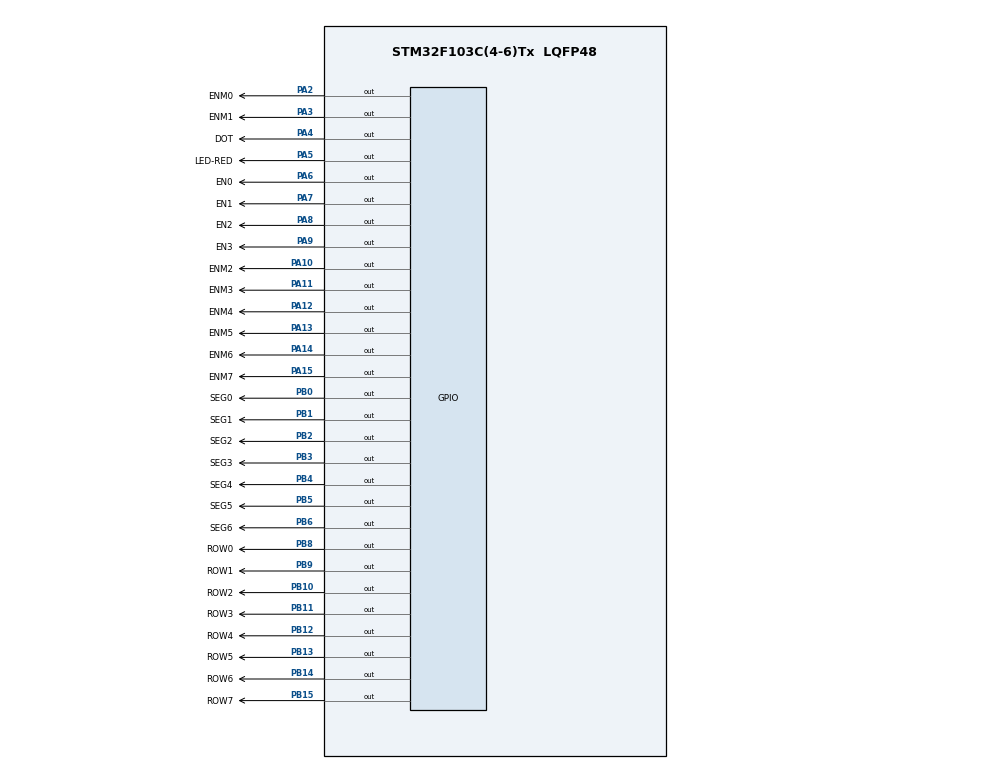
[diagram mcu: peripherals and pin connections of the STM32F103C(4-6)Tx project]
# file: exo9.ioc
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Mcu.Family=STM32F1
Mcu.Name=STM32F103C(4-6)Tx
Mcu.Package=LQFP48
NVIC.PriorityGroup=NVIC_PRIORITYGROUP_4
NVIC.TIM2_IRQn=true\:0\:0\:false\:false\:true\:true\:true
PA10.GPIO_Label=ENM2
PA10.Signal=GPIO_Output
PA11.GPIO_Label=ENM3
PA11.Signal=GPIO_Output
PA12.GPIO_Label=ENM4
PA12.Signal=GPIO_Output
PA13.GPIO_Label=ENM5
PA13.Signal=GPIO_Output
PA14.GPIO_Label=ENM6
PA14.Signal=GPIO_Output
PA15.GPIO_Label=ENM7
PA15.Signal=GPIO_Output
PA2.GPIO_Label=ENM0
PA2.Signal=GPIO_Output
PA3.GPIO_Label=ENM1
PA3.Signal=GPIO_Output
PA4.GPIO_Label=DOT
PA4.Signal=GPIO_Output
PA5.GPIO_Label=LED-RED
PA5.Signal=GPIO_Output
PA6.GPIO_Label=EN0
PA6.Signal=GPIO_Output
PA7.GPIO_Label=EN1
PA7.Signal=GPIO_Output
PA8.GPIO_Label=EN2
PA8.Signal=GPIO_Output
PA9.GPIO_Label=EN3
PA9.Signal=GPIO_Output
PB0.GPIO_Label=SEG0
PB0.Signal=GPIO_Output
PB1.GPIO_Label=SEG1
PB1.Signal=GPIO_Output
PB10.GPIO_Label=ROW2
PB10.Signal=GPIO_Output
PB11.GPIO_Label=ROW3
PB11.Signal=GPIO_Output
PB12.GPIO_Label=ROW4
PB12.Signal=GPIO_Output
PB13.GPIO_Label=ROW5
PB13.Signal=GPIO_Output
PB14.GPIO_Label=ROW6
PB14.Signal=GPIO_Output
PB15.GPIO_Label=ROW7
PB15.Signal=GPIO_Output
PB2.GPIO_Label=SEG2
PB2.Signal=GPIO_Output
PB3.GPIO_Label=SEG3
PB3.Signal=GPIO_Output
PB4.GPIO_Label=SEG4
PB4.Signal=GPIO_Output
PB5.GPIO_Label=SEG5
PB5.Signal=GPIO_Output
PB6.GPIO_Label=SEG6
PB6.Signal=GPIO_Output
PB8.GPIO_Label=ROW0
PB8.Signal=GPIO_Output
PB9.GPIO_Label=ROW1
PB9.Signal=GPIO_Output
ProjectManager.HeapSize=0x200
ProjectManager.StackSize=0x400
ProjectManager.TargetToolchain=STM32CubeIDE
RCC.APB1Freq_Value=8000000
RCC.APB2Freq_Value=8000000
TIM2.Period=9
TIM2.Prescaler=7999
VP_SYS_VS_ND.Mode=No_Debug
VP_TIM2_VS_ClockSourceINT.Mode=Internal
board=custom

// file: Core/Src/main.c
/* USER CODE BEGIN Header */
/**
  ******************************************************************************
  * @file           : main.c
  * @brief          : Main program body
  ******************************************************************************
  * @attention
  *
  * <h2><center>&copy; Copyright (c) 2022 STMicroelectronics.
  * All rights reserved.</center></h2>
  *
  * This software component is licensed by ST under BSD 3-Clause license,
  * the "License"; You may not use this file except in compliance with the
  * License. You may obtain a copy of the License at:
  *                        opensource.org/licenses/BSD-3-Clause
  *
  ******************************************************************************
  */
/* USER CODE END Header */
#include <control_clock_buffer.h>
#include <control_led_7SEG.h>
#include "main.h"

/* USER CODE BEGIN Includes */
#include "software_timer.h"
#include "clock.h"
#include "global.h"
#include "control_matrix.h"
/* USER CODE END Includes */

TIM_HandleTypeDef htim2;

void SystemClock_Config(void);
static void MX_GPIO_Init(void);
static void MX_TIM2_Init(void);

int main(void)
{

  /* MCU Configuration--------------------------------------------------------*/

  /* Reset of all peripherals, Initializes the Flash interface and the Systick. */
  HAL_Init();

  /* Configure the system clock */
  SystemClock_Config();

  /* Initialize all configured peripherals */
  MX_GPIO_Init();
  MX_TIM2_Init();
  /* USER CODE BEGIN 2 */

  HAL_TIM_Base_Start_IT(&htim2);

  /* USER CODE END 2 */

  /* Infinite loop */
  /* USER CODE BEGIN WHILE */
  setTimer1(1000);
  setTimer2(1000);
  setTimer3(1000);
  setTimer4(1000);
  while (1)
  {
    /* USER CODE END WHILE */
    /* USER CODE BEGIN 3 */
	if(timer3_flag == 1)// control LED-RED and DOT-LED
	{
		HAL_GPIO_TogglePin(LED_RED_GPIO_Port, LED_RED_Pin);
		HAL_GPIO_TogglePin(DOT_GPIO_Port, DOT_Pin);
		setTimer3(1000);
	}

	if(timer1_flag == 1)// run time as a clock
	{
		clock();
		updateClockBuffer();
		setTimer1(1000);
	}

	if(timer2_flag == 1)// control 4 led 7-SEG
	{
		update7SEG(index_led++);
		if(index_led == MAX_LED) index_led = 0;
		setTimer2(250);
	}

	if(timer4_flag == 1)// control led matrix
	{
		updateLedMatrix(index_led_matrix++);
		if(index_led_matrix == MAX_LED_MATRIX) index_led_matrix = 0;
		setTimer4(100);
	}

  }
  /* USER CODE END 3 */
}

void SystemClock_Config(void)
{
  RCC_OscInitTypeDef RCC_OscInitStruct = {0};
  RCC_ClkInitTypeDef RCC_ClkInitStruct = {0};

  /** Initializes the RCC Oscillators according to the specified parameters
  * in the RCC_OscInitTypeDef structure.
  */
  RCC_OscInitStruct.OscillatorType = RCC_OSCILLATORTYPE_HSI;
  RCC_OscInitStruct.HSIState = RCC_HSI_ON;
  RCC_OscInitStruct.HSICalibrationValue = RCC_HSICALIBRATION_DEFAULT;
  RCC_OscInitStruct.PLL.PLLState = RCC_PLL_NONE;
  if (HAL_RCC_OscConfig(&RCC_OscInitStruct) != HAL_OK)
  {
    Error_Handler();
  }
  /** Initializes the CPU, AHB and APB buses clocks
  */
  RCC_ClkInitStruct.ClockType = RCC_CLOCKTYPE_HCLK|RCC_CLOCKTYPE_SYSCLK
                              |RCC_CLOCKTYPE_PCLK1|RCC_CLOCKTYPE_PCLK2;
  RCC_ClkInitStruct.SYSCLKSource = RCC_SYSCLKSOURCE_HSI;
  RCC_ClkInitStruct.AHBCLKDivider = RCC_SYSCLK_DIV1;
  RCC_ClkInitStruct.APB1CLKDivider = RCC_HCLK_DIV1;
  RCC_ClkInitStruct.APB2CLKDivider = RCC_HCLK_DIV1;

  if (HAL_RCC_ClockConfig(&RCC_ClkInitStruct, FLASH_LATENCY_0) != HAL_OK)
  {
    Error_Handler();
  }
}

static void MX_TIM2_Init(void)
{

  TIM_ClockConfigTypeDef sClockSourceConfig = {0};
  TIM_MasterConfigTypeDef sMasterConfig = {0};

  htim2.Instance = TIM2;
  htim2.Init.Prescaler = 7999;
  htim2.Init.CounterMode = TIM_COUNTERMODE_UP;
  htim2.Init.Period = 9;
  htim2.Init.ClockDivision = TIM_CLOCKDIVISION_DIV1;
  htim2.Init.AutoReloadPreload = TIM_AUTORELOAD_PRELOAD_DISABLE;
  if (HAL_TIM_Base_Init(&htim2) != HAL_OK)
  {
    Error_Handler();
  }
  sClockSourceConfig.ClockSource = TIM_CLOCKSOURCE_INTERNAL;
  if (HAL_TIM_ConfigClockSource(&htim2, &sClockSourceConfig) != HAL_OK)
  {
    Error_Handler();
  }
  sMasterConfig.MasterOutputTrigger = TIM_TRGO_RESET;
  sMasterConfig.MasterSlaveMode = TIM_MASTERSLAVEMODE_DISABLE;
  if (HAL_TIMEx_MasterConfigSynchronization(&htim2, &sMasterConfig) != HAL_OK)
  {
    Error_Handler();
  }

}

static void MX_GPIO_Init(void)
{
  GPIO_InitTypeDef GPIO_InitStruct = {0};

  /* GPIO Ports Clock Enable */
  __HAL_RCC_GPIOA_CLK_ENABLE();
  __HAL_RCC_GPIOB_CLK_ENABLE();

  /*Configure GPIO pin Output Level */
  HAL_GPIO_WritePin(GPIOA, ENM0_Pin|ENM1_Pin|DOT_Pin|LED_RED_Pin
                          |EN0_Pin|EN1_Pin|EN2_Pin|EN3_Pin
                          |ENM2_Pin|ENM3_Pin|ENM4_Pin|ENM5_Pin
                          |ENM6_Pin|ENM7_Pin, GPIO_PIN_RESET);

  /*Configure GPIO pin Output Level */
  HAL_GPIO_WritePin(GPIOB, SEG0_Pin|SEG1_Pin|SEG2_Pin|ROW2_Pin
                          |ROW3_Pin|ROW4_Pin|ROW5_Pin|ROW6_Pin
                          |ROW7_Pin|SEG3_Pin|SEG4_Pin|SEG5_Pin
                          |SEG6_Pin|ROW0_Pin|ROW1_Pin, GPIO_PIN_RESET);

  /*Configure GPIO pins : ENM0_Pin ENM1_Pin DOT_Pin LED_RED_Pin
                           EN0_Pin EN1_Pin EN2_Pin EN3_Pin
                           ENM2_Pin ENM3_Pin ENM4_Pin ENM5_Pin
                           ENM6_Pin ENM7_Pin */
  GPIO_InitStruct.Pin = ENM0_Pin|ENM1_Pin|DOT_Pin|LED_RED_Pin
                          |EN0_Pin|EN1_Pin|EN2_Pin|EN3_Pin
                          |ENM2_Pin|ENM3_Pin|ENM4_Pin|ENM5_Pin
                          |ENM6_Pin|ENM7_Pin;
  GPIO_InitStruct.Mode = GPIO_MODE_OUTPUT_PP;
  GPIO_InitStruct.Pull = GPIO_NOPULL;
  GPIO_InitStruct.Speed = GPIO_SPEED_FREQ_LOW;
  HAL_GPIO_Init(GPIOA, &GPIO_InitStruct);

  /*Configure GPIO pins : SEG0_Pin SEG1_Pin SEG2_Pin ROW2_Pin
                           ROW3_Pin ROW4_Pin ROW5_Pin ROW6_Pin
                           ROW7_Pin SEG3_Pin SEG4_Pin SEG5_Pin
                           SEG6_Pin ROW0_Pin ROW1_Pin */
  GPIO_InitStruct.Pin = SEG0_Pin|SEG1_Pin|SEG2_Pin|ROW2_Pin
                          |ROW3_Pin|ROW4_Pin|ROW5_Pin|ROW6_Pin
                          |ROW7_Pin|SEG3_Pin|SEG4_Pin|SEG5_Pin
                          |SEG6_Pin|ROW0_Pin|ROW1_Pin;
  GPIO_InitStruct.Mode = GPIO_MODE_OUTPUT_PP;
  GPIO_InitStruct.Pull = GPIO_NOPULL;
  GPIO_InitStruct.Speed = GPIO_SPEED_FREQ_LOW;
  HAL_GPIO_Init(GPIOB, &GPIO_InitStruct);

}

/* USER CODE BEGIN 4 */
HAL_TIM_PeriodElapsedCallback(TIM_HandleTypeDef *htim)
{
	timerRun();
}
/* USER CODE END 4 */

void Error_Handler(void)
{
  __disable_irq();
  while (1)
  {
  }
}

/************************ (C) COPYRIGHT STMicroelectronics *****END OF FILE****/
